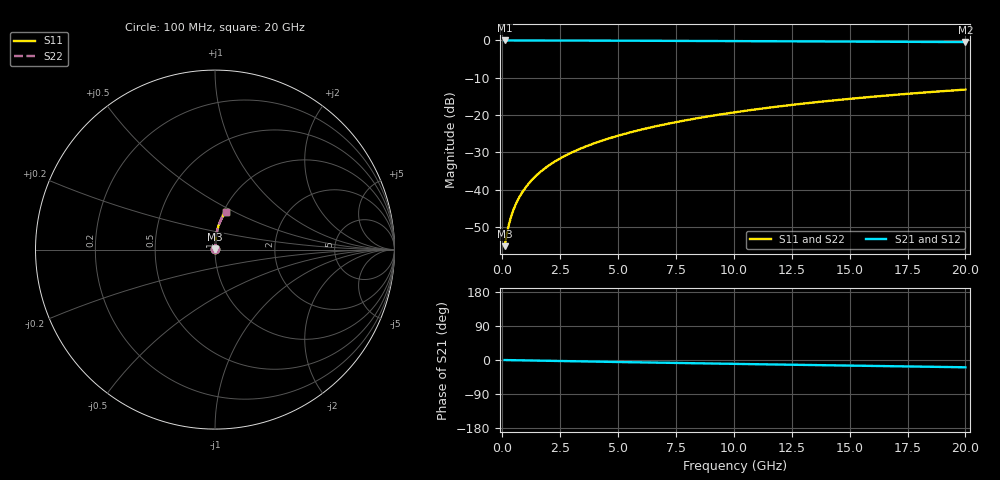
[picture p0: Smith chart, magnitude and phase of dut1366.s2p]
! Touchstone file exported from HFSS 2024.1.0
!  File:  C:/UserFiles/LocalFiles/RDL_TSV_Batchsim/temp_RDL_top_1366_1780366789.aedt
!  Generated:  10:21:53 AM Jun  2, 2026
!  Design:  RDL_top
!  Project:  temp_RDL_top_1366_1780366789
!  Setup:  Setup1
!  Solution:  Sweep
! Variables:
!  dtsv = 10.80580581um
!  hbump = 3um
!  htsv = 83.38um
!  ldown = 100um
!  lrdl = 237.67um
!  p = 40
!  p1 = 46.71um
!  rhole = 1um
!  t = 450um
!  tdown = 3.915915916um
!  trdl = 4.09um
!  wdown = 15.38538539um
!  wrdl = 17.4um
# GHz S MA R 50.000000
! Terminal data exported
! Port[1] = Box2_T1
! Port[2] = Box2_T2
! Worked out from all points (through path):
!   200 points, 100 MHz to 20 GHz, reference 50 ohm
!   highest |S21| = -0.01 dB at 100 MHz (marker M1); lowest = -0.4 dB at 20 GHz (marker M2)
!   group delay of S21, straight-line fit = 2.65 ps
!   lowest |S11| = -55.2 dB at 100 MHz (marker M3), VSWR 1.00, Z = 50.1 + j0.111 ohm
!   |S11| at or under -10 dB: start of sweep to end of sweep
!   |S22| runs from -55.2 to -13.2 dB; largest |S21 - S12| = 2e-15
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0.1  0.00174 39.5  0.9987 -0.1  0.9987 -0.1  0.00174 39.5
! Gamma 0 0 0 0
! Port Impedance 50 0 50 0
0.2  0.002592 57.6  0.9986 -0.2  0.9986 -0.2  0.002592 57.6
0.3  0.003546 66.0  0.9985 -0.3  0.9985 -0.3  0.003546 66.0
0.4  0.004526 70.9  0.9985 -0.4  0.9985 -0.4  0.004526 70.9
0.5  0.005519 74.1  0.9984 -0.6  0.9984 -0.6  0.005519 74.1
0.6  0.00652 76.3  0.9984 -0.7  0.9984 -0.7  0.00652 76.3
0.8  0.008542 79.3  0.9982 -0.9  0.9982 -0.9  0.008542 79.3
1.1  0.01161 81.9  0.9981 -1.2  0.9981 -1.2  0.01161 81.9
1.5  0.01573 83.7  0.9977 -1.6  0.9977 -1.6  0.01573 83.7
1.8  0.01884 84.5  0.9974 -2.0  0.9974 -2.0  0.01884 84.5
2.1  0.02196 85.1  0.9971 -2.3  0.9971 -2.3  0.02196 85.1
2.7  0.02823 85.8  0.9963 -2.9  0.9963 -2.9  0.02823 85.8
3.5  0.03667 86.2  0.995 -3.8  0.995 -3.8  0.03667 86.2
4.2  0.04412 86.2  0.9937 -4.5  0.9937 -4.5  0.04412 86.2
5  0.05272 86.2  0.992 -5.3  0.992 -5.3  0.05272 86.2
5.9  0.0625 85.9  0.9899 -6.2  0.9899 -6.2  0.0625 85.9
6.8  0.0724 85.5  0.9877 -7.1  0.9877 -7.1  0.0724 85.5
8.3  0.0891 84.7  0.9837 -8.6  0.9837 -8.6  0.08909 84.7
10.1  0.1094 83.4  0.9788 -10.3  0.9788 -10.3  0.1093 83.4
13.4  0.1466 80.6  0.9695 -13.3  0.9695 -13.3  0.1466 80.6
16.7  0.1834 77.5  0.9598 -16.3  0.9598 -16.3  0.1834 77.5
20  0.2192 74.4  0.9496 -19.2  0.9496 -19.2  0.2192 74.4
